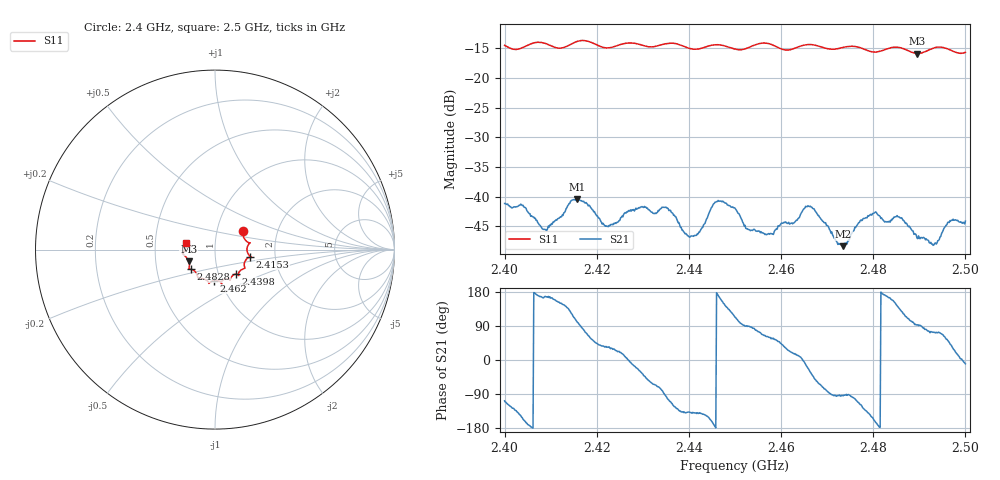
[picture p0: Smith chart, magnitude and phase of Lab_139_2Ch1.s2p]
# Hz S RI R 50
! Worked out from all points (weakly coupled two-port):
!   601 points, 2.4 GHz to 2.5 GHz, reference 50 ohm
!   highest |S21| = -40.43 dB at 2.4157 GHz (marker M1); lowest = -48.3 dB at 2.4735 GHz (marker M2)
!   lowest |S11| = -15.9 dB at 2.4895 GHz (marker M3), VSWR 1.38, Z = 36.9 - j5.02 ohm
!   |S11| at or under -10 dB: start of sweep to end of sweep
!   S12 and S22 are empty: the file has one direction only
!   S11 on the Smith chart (normalised r, x): 2.4 GHz: 1.33, +0.29; 2.4153 GHz: 1.48, -0.12; 2.4398 GHz: 1.21, -0.34; 2.462 GHz: 0.93, -0.33; 2.4828 GHz: 0.74, -0.17; 2.5 GHz: 0.72, +0.06
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2.4e9  0.1552 0.1062  -0.00271 -0.00835  0 0  0 0
2.408833e9  0.1923 0.0351  -0.00518 0.0011  0 0  0 0
2.415333e9  0.1966 -0.0387  -0.00284 0.00903  0 0  0 0
2.415667e9  0.1987 -0.0403  -0.00193 0.00932  0 0  0 0
2.416667e9  0.2023 -0.0429  0.000563 0.00926  0 0  0 0
2.422167e9  0.1667 -0.0659  0.00469 0.00312  0 0  0 0
2.433333e9  0.1312 -0.1336  0.00255 -0.00722  0 0  0 0
2.4355e9  0.1318 -0.1445  -0.00191 -0.00769  0 0  0 0
2.439833e9  0.1156 -0.1363  -0.00346 -0.00316  0 0  0 0
2.445833e9  0.0847 -0.1707  -0.00902 -0.000148  0 0  0 0
2.45e9  0.0648 -0.1628  -0.00315 0.00736  0 0  0 0
2.453333e9  0.0364 -0.1793  0.000291 0.00517  0 0  0 0
2.462e9  -0.00508 -0.1729  0.00551 0.00223  0 0  0 0
2.466667e9  -0.0344 -0.1877  0.00643 -0.00503  0 0  0 0
2.4735e9  -0.0842 -0.1603  -0.000293 -0.00382  0 0  0 0
2.479333e9  -0.1047 -0.1305  -0.00577 -0.00406  0 0  0 0
2.482833e9  -0.1364 -0.1096  -0.00604 0.00117  0 0  0 0
2.483333e9  -0.14 -0.1093  -0.00591 0.00163  0 0  0 0
2.4895e9  -0.1464 -0.0661  -0.000202 0.00447  0 0  0 0
2.493333e9  -0.1783 -0.0255  0.0012 0.00386  0 0  0 0
2.496667e9  -0.1722 -0.0105  0.00467 0.00423  0 0  0 0
2.5e9  -0.1596 0.039  0.00613 -0.00109  0 0  0 0
